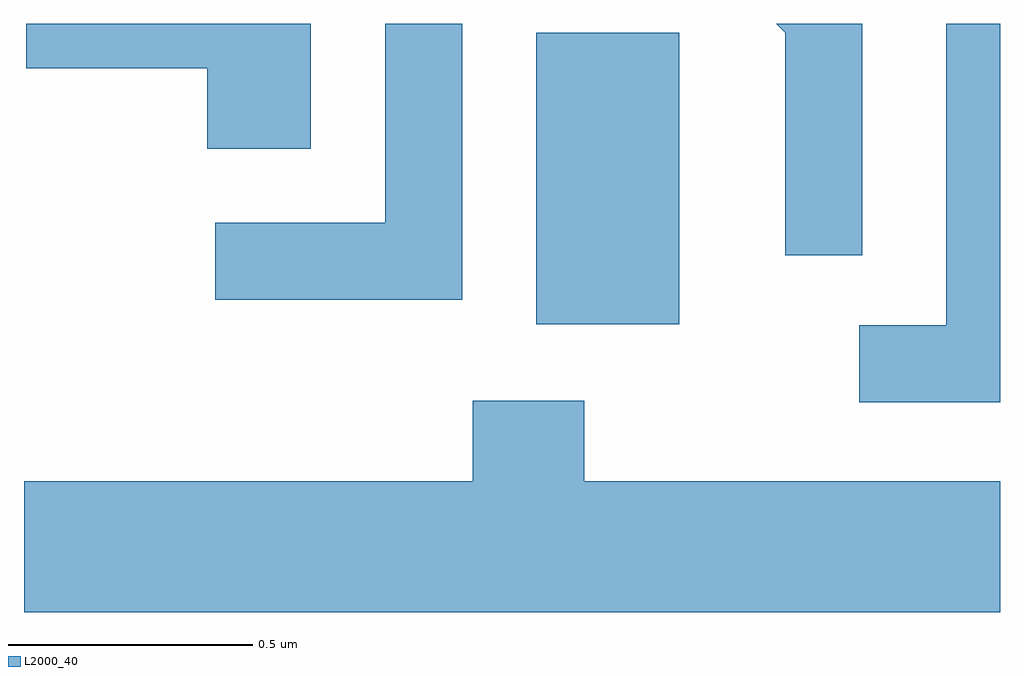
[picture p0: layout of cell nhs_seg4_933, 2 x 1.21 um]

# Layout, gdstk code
import gdstk
lib = gdstk.Library(unit=1e-6, precision=1e-09)
def R(c, l, rs):  # rectangles x0, y0, x1, y1
    for r in rs: c.add(gdstk.rectangle(r[:2], r[2:], *l))
def P(c, l, *ps):  # polygons
    for p in ps: c.add(gdstk.Polygon(p, *l))
L2000_40 = (2000, 40)

nhs_seg4_933 = lib.new_cell('nhs_seg4_933')
R(nhs_seg4_933, L2000_40, [(192.661,1366.366,192.954,1366.964)])
P(nhs_seg4_933, L2000_40, [(193.611,1366.982),(193.501,1366.982),(193.501,1366.364),(193.323,1366.364),(193.323,1366.206),(193.611,1366.206)],
  [(192.199,1366.982),(191.616,1366.982),(191.616,1366.891),(191.986,1366.891),(191.986,1366.726),(192.199,1366.726)],
  [(192.509,1366.982),(192.351,1366.982),(192.351,1366.574),(192.003,1366.574),(192.003,1366.416),(192.509,1366.416)],
  [(193.329,1366.982),(193.153,1366.982),(193.171,1366.964),(193.171,1366.508),(193.329,1366.508)],
  [(193.611,1366.044),(192.759,1366.044),(192.759,1366.209),(192.531,1366.209),(192.531,1366.044),(191.611,1366.044),(191.611,1365.776),(193.611,1365.776)])

lib.write_gds('nhs_seg4_933.gds')
